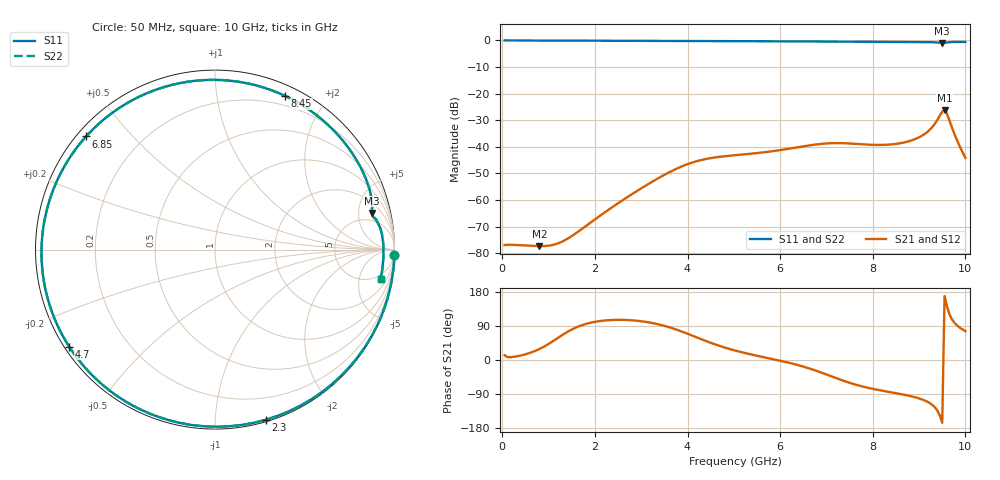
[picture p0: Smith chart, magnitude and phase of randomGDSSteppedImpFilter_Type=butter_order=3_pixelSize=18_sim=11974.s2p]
! freq	dB(S11)	phase(S11)	dB(S12)	phase(S12)
!  dB(S21)	phase(S21)	dB(S22)	phase(S22)
!S-par simulation data
#  GHz  S  DB  R 50
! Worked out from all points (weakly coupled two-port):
!   200 points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, 50 MHz to 10 GHz, reference 50 ohm
!   highest |S21| = -26.30 dB at 9.55 GHz (marker M1); lowest = -77.3 dB at 800 MHz (marker M2)
!   lowest |S11| = -1.0 dB at 9.5 GHz (marker M3), VSWR 18.30, Z = 170 + j353 ohm
!   |S11| at or under -10 dB: nowhere
!   |S22| runs from -0.9 to 0.0 dB; largest |S21 - S12| = 0
!   S11 on the Smith chart (normalised r, x): 50 MHz: 0, -70; 2.3 GHz: 0.02, -1.34; 4.7 GHz: 0.01, -0.30; 6.85 GHz: 0.03, +0.38; 8.45 GHz: 0.10, +1.55; 10 GHz: 4, -10
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0.05  -0.00 -1.6  -76.94 12.6  -76.94 12.6  -0.00 -1.6
0.8  -0.02 -26.1  -77.34 28.9  -77.34 28.9  -0.02 -26.1
1.25  -0.05 -40.6  -75.96 62.3  -75.96 62.3  -0.05 -40.5
1.75  -0.07 -56.3  -70.47 93.1  -70.47 93.1  -0.07 -56.3
2.3  -0.10 -73.4  -63.57 105.2  -63.57 105.2  -0.10 -73.4
2.85  -0.12 -90.2  -57.23 104.3  -57.23 104.3  -0.12 -90.1
3.4  -0.14 -106.8  -51.48 93.3  -51.48 93.3  -0.14 -106.7
4.05  -0.17 -126.4  -46.20 67.0  -46.20 67.0  -0.17 -126.3
4.7  -0.21 -146.3  -43.73 36.8  -43.73 36.8  -0.21 -146.3
5.05  -0.24 -157.4  -43.11 24.2  -43.11 24.2  -0.24 -157.3
5.9  -0.31 174.4  -41.47 0.8  -41.47 0.8  -0.31 174.5
6.7  -0.38 144.7  -39.28 -25.1  -39.28 -25.1  -0.38 144.9
6.85  -0.39 138.7  -38.95 -31.5  -38.95 -31.5  -0.39 138.9
7.65  -0.46 104.1  -38.90 -65.7  -38.90 -65.7  -0.46 104.3
8  -0.49 87.6  -39.25 -76.1  -39.25 -76.1  -0.49 87.8
8.35  -0.52 70.4  -39.16 -84.1  -39.16 -84.1  -0.52 70.7
8.45  -0.53 65.4  -39.00 -86.2  -39.00 -86.2  -0.53 65.7
9.1  -0.60 32.4  -35.39 -105.8  -35.39 -105.8  -0.60 32.7
9.3  -0.67 22.2  -32.25 -120.0  -32.25 -120.0  -0.67 22.5
9.5  -0.95 13.2  -26.77 -165.6  -26.77 -165.6  -0.94 13.4
9.55  -0.94 12.0  -26.30 168.8  -26.30 168.8  -0.93 12.2
10  -0.56 -10.1  -44.15 76.1  -44.15 76.1  -0.56 -9.9
